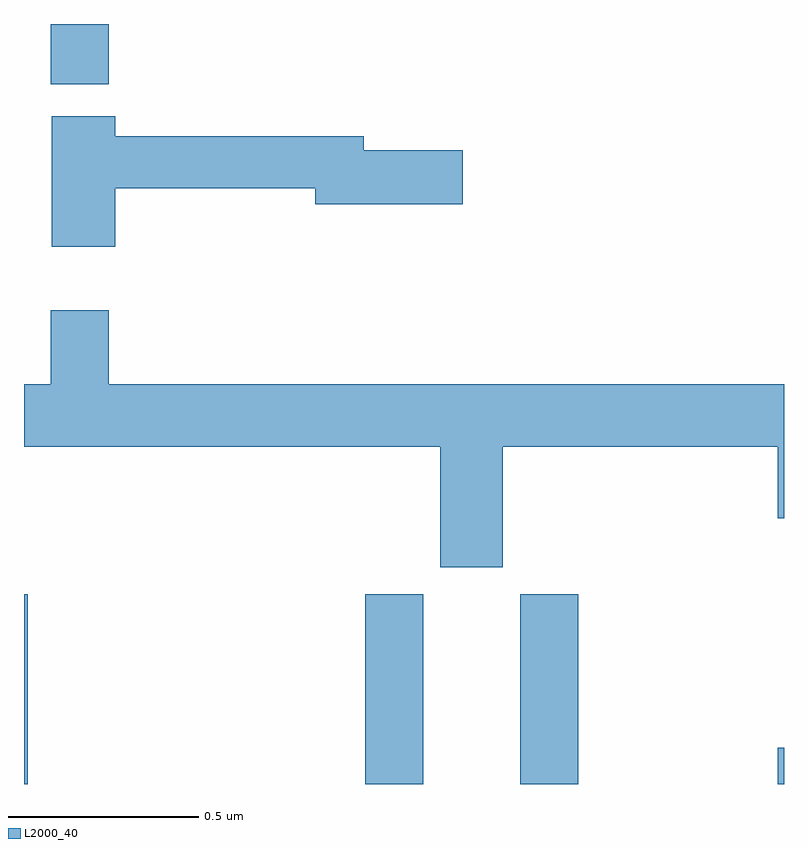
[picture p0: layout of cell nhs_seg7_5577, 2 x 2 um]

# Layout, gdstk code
import gdstk
lib = gdstk.Library(unit=1e-6, precision=1e-09)
def R(c, l, rs):  # rectangles x0, y0, x1, y1
    for r in rs: c.add(gdstk.rectangle(r[:2], r[2:], *l))
def P(c, l, *ps):  # polygons
    for p in ps: c.add(gdstk.Polygon(p, *l))
L2000_40 = (2000, 40)

nhs_seg7_5577 = lib.new_cell('nhs_seg7_5577')
R(nhs_seg7_5577, L2000_40, [(187,1061,187.01,1061.5), (187.898,1061,188.05,1061.499), (188.306,1061,188.459,1061.499), (188.984,1061,189,1061.095), (187.07,1062.842,187.223,1063)])
P(nhs_seg7_5577, L2000_40, [(187.24,1062.568),(187.766,1062.568),(187.766,1062.526),(188.155,1062.526),(188.155,1062.668),(187.894,1062.668),(187.894,1062.704),(187.24,1062.704),(187.24,1062.757),(187.073,1062.757),(187.073,1062.414),(187.24,1062.414)],
  [(188.26,1061.888),(188.984,1061.888),(188.984,1061.7),(189,1061.7),(189,1062.052),(187.223,1062.052),(187.223,1062.247),(187.07,1062.247),(187.07,1062.052),(187,1062.052),(187,1061.888),(188.096,1061.888),(188.096,1061.571),(188.26,1061.571)])

lib.write_gds('nhs_seg7_5577.gds')
